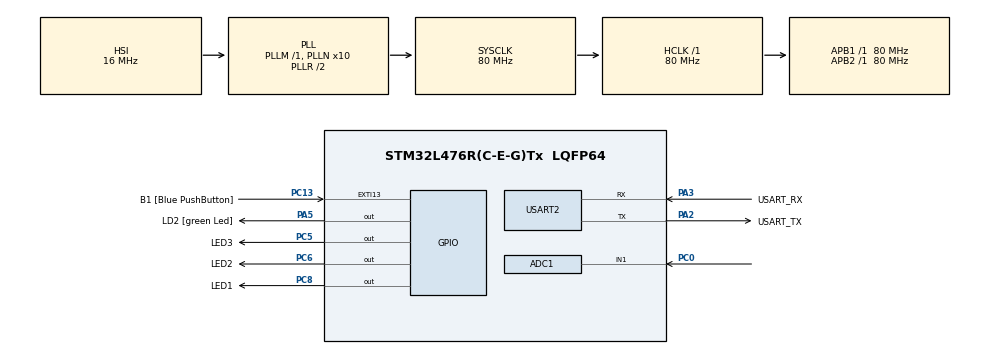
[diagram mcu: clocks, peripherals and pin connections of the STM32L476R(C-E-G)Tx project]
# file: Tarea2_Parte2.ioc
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ADC1.Channel-0\#ChannelRegularConversion=ADC_CHANNEL_1
ADC1.ContinuousConvMode=ENABLE
ADC1.NbrOfConversionFlag=1
ADC1.OffsetNumber-0\#ChannelRegularConversion=ADC_OFFSET_NONE
ADC1.Rank-0\#ChannelRegularConversion=1
ADC1.SamplingTime-0\#ChannelRegularConversion=ADC_SAMPLETIME_2CYCLES_5
ADC1.master=1
FREERTOS.Queues01=S1_Cola,100,float,0,Dynamic,NULL,NULL;S2_Cola,10,uint32_t,0,Dynamic,NULL,NULL;S2_Cola_LED,10,uint32_t,0,Dynamic,NULL,NULL
FREERTOS.Tasks01=S1_UART,16,128,StartDefaultTask,Default,NULL,Dynamic,NULL,NULL;S2_ADC,32,128,StartTask02,Default,NULL,Dynamic,NULL,NULL;S2_Proc,24,128,StartTask03,Default,NULL,Dynamic,NULL,NULL;S2_Control,24,128,StartTask04,Default,NULL,Dynamic,NULL,NULL
Mcu.Family=STM32L4
Mcu.Name=STM32L476R(C-E-G)Tx
Mcu.Package=LQFP64
NVIC.PriorityGroup=NVIC_PRIORITYGROUP_4
NVIC.TIM6_DAC_IRQn=true\:15\:0\:false\:false\:true\:false\:false\:true\:true
NVIC.TimeBase=TIM6_DAC_IRQn
NVIC.TimeBaseIP=TIM6
NVIC.USART2_IRQn=true\:5\:0\:false\:false\:true\:true\:true\:true\:true
PA13\ (JTMS-SWDIO).GPIO_Label=TMS
PA13\ (JTMS-SWDIO).Mode=Serial_Wire
PA13\ (JTMS-SWDIO).Signal=SYS_JTMS-SWDIO
PA14\ (JTCK-SWCLK).GPIO_Label=TCK
PA14\ (JTCK-SWCLK).Mode=Serial_Wire
PA14\ (JTCK-SWCLK).Signal=SYS_JTCK-SWCLK
PA2.GPIO_Label=USART_TX
PA2.GPIO_Mode=GPIO_MODE_AF_PP
PA2.GPIO_PuPd=GPIO_NOPULL
PA2.GPIO_Speed=GPIO_SPEED_FREQ_VERY_HIGH
PA2.Mode=Asynchronous
PA2.Signal=USART2_TX
PA3.GPIO_Label=USART_RX
PA3.GPIO_Mode=GPIO_MODE_AF_PP
PA3.GPIO_PuPd=GPIO_NOPULL
PA3.GPIO_Speed=GPIO_SPEED_FREQ_VERY_HIGH
PA3.Mode=Asynchronous
PA3.Signal=USART2_RX
PA5.GPIO_Label=LD2 [green Led]
PA5.GPIO_ModeDefaultOutputPP=GPIO_MODE_OUTPUT_PP
PA5.GPIO_PuPd=GPIO_NOPULL
PA5.GPIO_Speed=GPIO_SPEED_FREQ_LOW
PA5.Signal=GPIO_Output
PB3\ (JTDO-TRACESWO).GPIO_Label=SWO
PB3\ (JTDO-TRACESWO).Signal=SYS_JTDO-SWO
PC0.Signal=ADCx_IN1
PC13.GPIO_Label=B1 [Blue PushButton]
PC13.GPIO_ModeDefaultEXTI=GPIO_MODE_IT_FALLING
PC13.GPIO_PuPd=GPIO_NOPULL
PC13.Signal=GPXTI13
PC14-OSC32_IN\ (PC14).Mode=LSE-External-Oscillator
PC14-OSC32_IN\ (PC14).Signal=RCC_OSC32_IN
PC15-OSC32_OUT\ (PC15).Mode=LSE-External-Oscillator
PC15-OSC32_OUT\ (PC15).Signal=RCC_OSC32_OUT
PC5.GPIO_Label=LED3
PC5.Signal=GPIO_Output
PC6.GPIO_Label=LED2
PC6.Signal=GPIO_Output
PC8.GPIO_Label=LED1
PC8.Signal=GPIO_Output
PH0-OSC_IN\ (PH0).Signal=RCC_OSC_IN
PH1-OSC_OUT\ (PH1).Signal=RCC_OSC_OUT
ProjectManager.HeapSize=0x200
ProjectManager.StackSize=0x400
ProjectManager.TargetToolchain=STM32CubeIDE
RCC.ADCFreq_Value=64000000
RCC.AHBFreq_Value=80000000
RCC.APB1Freq_Value=80000000
RCC.APB1TimFreq_Value=80000000
RCC.APB2Freq_Value=80000000
RCC.APB2TimFreq_Value=80000000
RCC.CortexFreq_Value=80000000
RCC.HCLKFreq_Value=80000000
RCC.HSE_VALUE=8000000
RCC.HSI_VALUE=16000000
RCC.MSI_VALUE=4000000
RCC.PLLN=10
RCC.PLLSourceVirtual=RCC_PLLSOURCE_HSI
RCC.PREFETCH_ENABLE=1
RCC.SYSCLKFreq_VALUE=80000000
RCC.SYSCLKSource=RCC_SYSCLKSOURCE_PLLCLK
RCC.USBFreq_Value=64000000
RCC.VCOOutputFreq_Value=160000000
SH.ADCx_IN1.0=ADC1_IN1,IN1-Single-Ended
USART2.VirtualMode-Asynchronous=VM_ASYNC
VP_FREERTOS_VS_CMSIS_V2.Mode=CMSIS_V2
VP_SYS_VS_tim6.Mode=TIM6
board=NUCLEO-L476RG

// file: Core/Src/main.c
/* USER CODE BEGIN Header */
/**
  ******************************************************************************
  * @file           : main.c
  * @brief          : Main program body
  ******************************************************************************
  * @attention
  *
  * Copyright (c) 2026 STMicroelectronics.
  * All rights reserved.
  *
  * This software is licensed under terms that can be found in the LICENSE file
  * in the root directory of this software component.
  * If no LICENSE file comes with this software, it is provided AS-IS.
  *
  ******************************************************************************
  */
/* USER CODE END Header */
#include "main.h"
#include "cmsis_os.h"

/* USER CODE BEGIN Includes */
#include "my_it_callbacks.h"
#include "math.h"
#include "stdio.h"
/* USER CODE END Includes */

ADC_HandleTypeDef hadc1;

UART_HandleTypeDef huart2;

/* Definitions for S1_UART */
osThreadId_t S1_UARTHandle;
const osThreadAttr_t S1_UART_attributes = {
  .name = "S1_UART",
  .stack_size = 128 * 4,
  .priority = (osPriority_t) osPriorityBelowNormal,
};
/* Definitions for S2_ADC */
osThreadId_t S2_ADCHandle;
const osThreadAttr_t S2_ADC_attributes = {
  .name = "S2_ADC",
  .stack_size = 128 * 4,
  .priority = (osPriority_t) osPriorityAboveNormal,
};
/* Definitions for S2_Proc */
osThreadId_t S2_ProcHandle;
const osThreadAttr_t S2_Proc_attributes = {
  .name = "S2_Proc",
  .stack_size = 128 * 4,
  .priority = (osPriority_t) osPriorityNormal,
};
/* Definitions for S2_Control */
osThreadId_t S2_ControlHandle;
const osThreadAttr_t S2_Control_attributes = {
  .name = "S2_Control",
  .stack_size = 128 * 4,
  .priority = (osPriority_t) osPriorityNormal,
};
/* Definitions for S1_Cola */
osMessageQueueId_t S1_ColaHandle;
const osMessageQueueAttr_t S1_Cola_attributes = {
  .name = "S1_Cola"
};
/* Definitions for S2_Cola */
osMessageQueueId_t S2_ColaHandle;
const osMessageQueueAttr_t S2_Cola_attributes = {
  .name = "S2_Cola"
};
/* Definitions for S2_Cola_LED */
osMessageQueueId_t S2_Cola_LEDHandle;
const osMessageQueueAttr_t S2_Cola_LED_attributes = {
  .name = "S2_Cola_LED"
};
/* USER CODE BEGIN PV */
	float rx_buffer;
/* USER CODE END PV */

void SystemClock_Config(void);
static void MX_GPIO_Init(void);
static void MX_USART2_UART_Init(void);
static void MX_ADC1_Init(void);
void StartDefaultTask(void *argument);
void StartTask02(void *argument);
void StartTask03(void *argument);
void StartTask04(void *argument);

int main(void)
{

  /* MCU Configuration--------------------------------------------------------*/

  /* Reset of all peripherals, Initializes the Flash interface and the Systick. */
  HAL_Init();

  /* Configure the system clock */
  SystemClock_Config();

  /* Initialize all configured peripherals */
  MX_GPIO_Init();
  MX_USART2_UART_Init();
  MX_ADC1_Init();
  /* USER CODE BEGIN 2 */
  HAL_UART_Receive_IT(&huart2, (uint8_t*)&rx_buffer, sizeof(float));
  /* USER CODE END 2 */

  /* Init scheduler */
  osKernelInitialize();

  /* Create the queue(s) */
  /* creation of S1_Cola */
  S1_ColaHandle = osMessageQueueNew (100, sizeof(float), &S1_Cola_attributes);

  /* creation of S2_Cola */
  S2_ColaHandle = osMessageQueueNew (10, sizeof(uint32_t), &S2_Cola_attributes);

  /* creation of S2_Cola_LED */
  S2_Cola_LEDHandle = osMessageQueueNew (10, sizeof(uint32_t), &S2_Cola_LED_attributes);

  /* Create the thread(s) */
  /* creation of S1_UART */
  S1_UARTHandle = osThreadNew(StartDefaultTask, NULL, &S1_UART_attributes);

  /* creation of S2_ADC */
  S2_ADCHandle = osThreadNew(StartTask02, NULL, &S2_ADC_attributes);

  /* creation of S2_Proc */
  S2_ProcHandle = osThreadNew(StartTask03, NULL, &S2_Proc_attributes);

  /* creation of S2_Control */
  S2_ControlHandle = osThreadNew(StartTask04, NULL, &S2_Control_attributes);

  /* Start scheduler */
  osKernelStart();

  /* We should never get here as control is now taken by the scheduler */
  /* Infinite loop */
  while (1)
  {

  }
}

void SystemClock_Config(void)
{
  RCC_OscInitTypeDef RCC_OscInitStruct = {0};
  RCC_ClkInitTypeDef RCC_ClkInitStruct = {0};

  /** Configure the main internal regulator output voltage
  */
  if (HAL_PWREx_ControlVoltageScaling(PWR_REGULATOR_VOLTAGE_SCALE1) != HAL_OK)
  {
    Error_Handler();
  }

  /** Initializes the RCC Oscillators according to the specified parameters
  * in the RCC_OscInitTypeDef structure.
  */
  RCC_OscInitStruct.OscillatorType = RCC_OSCILLATORTYPE_HSI;
  RCC_OscInitStruct.HSIState = RCC_HSI_ON;
  RCC_OscInitStruct.HSICalibrationValue = RCC_HSICALIBRATION_DEFAULT;
  RCC_OscInitStruct.PLL.PLLState = RCC_PLL_ON;
  RCC_OscInitStruct.PLL.PLLSource = RCC_PLLSOURCE_HSI;
  RCC_OscInitStruct.PLL.PLLM = 1;
  RCC_OscInitStruct.PLL.PLLN = 10;
  RCC_OscInitStruct.PLL.PLLP = RCC_PLLP_DIV7;
  RCC_OscInitStruct.PLL.PLLQ = RCC_PLLQ_DIV2;
  RCC_OscInitStruct.PLL.PLLR = RCC_PLLR_DIV2;
  if (HAL_RCC_OscConfig(&RCC_OscInitStruct) != HAL_OK)
  {
    Error_Handler();
  }

  /** Initializes the CPU, AHB and APB buses clocks
  */
  RCC_ClkInitStruct.ClockType = RCC_CLOCKTYPE_HCLK|RCC_CLOCKTYPE_SYSCLK
                              |RCC_CLOCKTYPE_PCLK1|RCC_CLOCKTYPE_PCLK2;
  RCC_ClkInitStruct.SYSCLKSource = RCC_SYSCLKSOURCE_PLLCLK;
  RCC_ClkInitStruct.AHBCLKDivider = RCC_SYSCLK_DIV1;
  RCC_ClkInitStruct.APB1CLKDivider = RCC_HCLK_DIV1;
  RCC_ClkInitStruct.APB2CLKDivider = RCC_HCLK_DIV1;

  if (HAL_RCC_ClockConfig(&RCC_ClkInitStruct, FLASH_LATENCY_4) != HAL_OK)
  {
    Error_Handler();
  }
}

static void MX_ADC1_Init(void)
{

  ADC_MultiModeTypeDef multimode = {0};
  ADC_ChannelConfTypeDef sConfig = {0};

  /** Common config
  */
  hadc1.Instance = ADC1;
  hadc1.Init.ClockPrescaler = ADC_CLOCK_ASYNC_DIV1;
  hadc1.Init.Resolution = ADC_RESOLUTION_12B;
  hadc1.Init.DataAlign = ADC_DATAALIGN_RIGHT;
  hadc1.Init.ScanConvMode = ADC_SCAN_DISABLE;
  hadc1.Init.EOCSelection = ADC_EOC_SINGLE_CONV;
  hadc1.Init.LowPowerAutoWait = DISABLE;
  hadc1.Init.ContinuousConvMode = ENABLE;
  hadc1.Init.NbrOfConversion = 1;
  hadc1.Init.DiscontinuousConvMode = DISABLE;
  hadc1.Init.ExternalTrigConv = ADC_SOFTWARE_START;
  hadc1.Init.ExternalTrigConvEdge = ADC_EXTERNALTRIGCONVEDGE_NONE;
  hadc1.Init.DMAContinuousRequests = DISABLE;
  hadc1.Init.Overrun = ADC_OVR_DATA_PRESERVED;
  hadc1.Init.OversamplingMode = DISABLE;
  if (HAL_ADC_Init(&hadc1) != HAL_OK)
  {
    Error_Handler();
  }

  /** Configure the ADC multi-mode
  */
  multimode.Mode = ADC_MODE_INDEPENDENT;
  if (HAL_ADCEx_MultiModeConfigChannel(&hadc1, &multimode) != HAL_OK)
  {
    Error_Handler();
  }

  /** Configure Regular Channel
  */
  sConfig.Channel = ADC_CHANNEL_1;
  sConfig.Rank = ADC_REGULAR_RANK_1;
  sConfig.SamplingTime = ADC_SAMPLETIME_2CYCLES_5;
  sConfig.SingleDiff = ADC_SINGLE_ENDED;
  sConfig.OffsetNumber = ADC_OFFSET_NONE;
  sConfig.Offset = 0;
  if (HAL_ADC_ConfigChannel(&hadc1, &sConfig) != HAL_OK)
  {
    Error_Handler();
  }

}

static void MX_USART2_UART_Init(void)
{

  huart2.Instance = USART2;
  huart2.Init.BaudRate = 115200;
  huart2.Init.WordLength = UART_WORDLENGTH_8B;
  huart2.Init.StopBits = UART_STOPBITS_1;
  huart2.Init.Parity = UART_PARITY_NONE;
  huart2.Init.Mode = UART_MODE_TX_RX;
  huart2.Init.HwFlowCtl = UART_HWCONTROL_NONE;
  huart2.Init.OverSampling = UART_OVERSAMPLING_16;
  huart2.Init.OneBitSampling = UART_ONE_BIT_SAMPLE_DISABLE;
  huart2.AdvancedInit.AdvFeatureInit = UART_ADVFEATURE_NO_INIT;
  if (HAL_UART_Init(&huart2) != HAL_OK)
  {
    Error_Handler();
  }

}

static void MX_GPIO_Init(void)
{
  GPIO_InitTypeDef GPIO_InitStruct = {0};

  /* GPIO Ports Clock Enable */
  __HAL_RCC_GPIOC_CLK_ENABLE();
  __HAL_RCC_GPIOH_CLK_ENABLE();
  __HAL_RCC_GPIOA_CLK_ENABLE();
  __HAL_RCC_GPIOB_CLK_ENABLE();

  /*Configure GPIO pin Output Level */
  HAL_GPIO_WritePin(LD2_GPIO_Port, LD2_Pin, GPIO_PIN_RESET);

  /*Configure GPIO pin Output Level */
  HAL_GPIO_WritePin(GPIOC, LED3_Pin|LED2_Pin|LED1_Pin, GPIO_PIN_RESET);

  /*Configure GPIO pin : B1_Pin */
  GPIO_InitStruct.Pin = B1_Pin;
  GPIO_InitStruct.Mode = GPIO_MODE_IT_FALLING;
  GPIO_InitStruct.Pull = GPIO_NOPULL;
  HAL_GPIO_Init(B1_GPIO_Port, &GPIO_InitStruct);

  /*Configure GPIO pin : LD2_Pin */
  GPIO_InitStruct.Pin = LD2_Pin;
  GPIO_InitStruct.Mode = GPIO_MODE_OUTPUT_PP;
  GPIO_InitStruct.Pull = GPIO_NOPULL;
  GPIO_InitStruct.Speed = GPIO_SPEED_FREQ_LOW;
  HAL_GPIO_Init(LD2_GPIO_Port, &GPIO_InitStruct);

  /*Configure GPIO pins : LED3_Pin LED2_Pin LED1_Pin */
  GPIO_InitStruct.Pin = LED3_Pin|LED2_Pin|LED1_Pin;
  GPIO_InitStruct.Mode = GPIO_MODE_OUTPUT_PP;
  GPIO_InitStruct.Pull = GPIO_NOPULL;
  GPIO_InitStruct.Speed = GPIO_SPEED_FREQ_LOW;
  HAL_GPIO_Init(GPIOC, &GPIO_InitStruct);

}

void StartDefaultTask(void *argument)
{
  /* USER CODE BEGIN 5 */
	float data_array[100];
	uint8_t indice = 0;
	float received_val;
  /* Infinite loop */
  for(;;)
  {
	  if(osMessageQueueGet(S1_ColaHandle, &received_val, NULL, osWaitForever) == osOK) {
		  data_array[indice++] = received_val;

	      if(indice == 100) {

	    	  float sum = 0.0f;
	    	  float prom = 0.0f;
	          float desv = 0.0f;

	          for(int i = 0; i < 100; i++) sum += data_array[i];
	          prom = sum / 100.0f;

	          for(int i = 0; i < 100; i++) desv += powf((data_array[i] - prom), 2);
	          desv = sqrtf(desv / 100.0f);

	          char tx_buf[128];
	          int len = snprintf(tx_buf, sizeof(tx_buf), "Promedio: %.2f, Desviación estandar: %.2f\r\n", prom, desv);
	          HAL_UART_Transmit(&huart2, (uint8_t*)tx_buf, len, HAL_MAX_DELAY);

	          indice = 0;
	       }
	   }
  }
  /* USER CODE END 5 */
}

void StartTask02(void *argument)
{
  /* USER CODE BEGIN StartTask02 */
	uint32_t adc_val;
  /* Infinite loop */
  for(;;)
  {

	  HAL_ADC_Start(&hadc1);
	  if (HAL_ADC_PollForConversion(&hadc1, 10) == HAL_OK) {
		  adc_val = HAL_ADC_GetValue(&hadc1);
	      osMessageQueuePut(S2_ColaHandle, &adc_val, 0, osWaitForever);
	  }
	  osDelay(100);
  }
  /* USER CODE END StartTask02 */
}

void StartTask03(void *argument)
{
  /* USER CODE BEGIN StartTask03 */
	uint32_t adc_val;
	uint8_t estado_led = 0; // 1 = LED1, 2 = LED2, 3 = LED3
  /* Infinite loop */
  for(;;)
  {
	  if(osMessageQueueGet(S2_ColaHandle, &adc_val, NULL, osWaitForever) == osOK) {
		  float voltaje = (adc_val * 3.3f) / 4095.0f;

		  if(voltaje >= 0.0f && voltaje <= 1.1f) {
			  estado_led = 1;
	      } else if(voltaje > 1.1f && voltaje <= 2.2f) {
	    	  estado_led = 2;
	      } else {
	    	  estado_led = 3;
	      }

		  osMessageQueuePut(S2_Cola_LEDHandle, &estado_led, 0, osWaitForever);
	  }
	  //osDelay(1);
  }
  /* USER CODE END StartTask03 */
}

void StartTask04(void *argument) //Tarea control de LEDS
{
  /* USER CODE BEGIN StartTask04 */
	uint8_t estado_actual;
  /* Infinite loop */
  for(;;)
  {
	  if(osMessageQueueGet(S2_Cola_LEDHandle, &estado_actual, NULL, osWaitForever) == osOK) {

		  HAL_GPIO_WritePin(GPIOC, LED1_Pin, GPIO_PIN_RESET);
	      HAL_GPIO_WritePin(GPIOC, LED2_Pin, GPIO_PIN_RESET);
	      HAL_GPIO_WritePin(GPIOC, LED3_Pin, GPIO_PIN_RESET);

	      if(estado_actual == 1) {
	    	   HAL_GPIO_WritePin(GPIOC, LED1_Pin, GPIO_PIN_SET);
	      } else if(estado_actual == 2) {
	           HAL_GPIO_WritePin(GPIOC, LED2_Pin, GPIO_PIN_SET);
	      } else if(estado_actual == 3) {
	           HAL_GPIO_WritePin(GPIOC, LED3_Pin, GPIO_PIN_SET);
	      }
	   }
	   //osDelay(1);
  }
  /* USER CODE END StartTask04 */
}

void HAL_TIM_PeriodElapsedCallback(TIM_HandleTypeDef *htim)
{
  if (htim->Instance == TIM6) {
    HAL_IncTick();
  }
}

void Error_Handler(void)
{
  __disable_irq();
  while (1)
  {
  }
}
